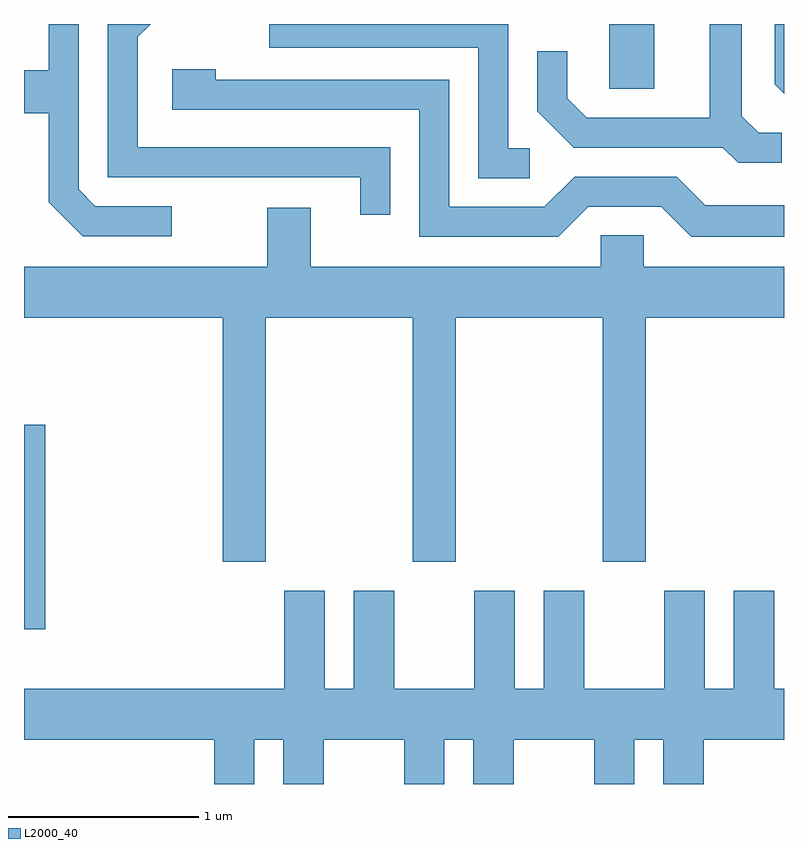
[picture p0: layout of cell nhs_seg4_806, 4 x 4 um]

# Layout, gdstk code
import gdstk
lib = gdstk.Library(unit=1e-6, precision=1e-09)
def R(c, l, rs):  # rectangles x0, y0, x1, y1
    for r in rs: c.add(gdstk.rectangle(r[:2], r[2:], *l))
def P(c, l, *ps):  # polygons
    for p in ps: c.add(gdstk.Polygon(p, *l))
L2000_40 = (2000, 40)

nhs_seg4_806 = lib.new_cell('nhs_seg4_806')
R(nhs_seg4_806, L2000_40, [(207.611,1370.796,207.724,1371.874), (210.691,1373.641,210.929,1373.982)])
P(nhs_seg4_806, L2000_40, [(209.539,1373.334),(208.209,1373.334),(208.209,1373.914),(208.278,1373.982),(208.051,1373.982),(208.051,1373.176),(209.381,1373.176),(209.381,1372.978),(209.539,1372.978)],
  [(211.611,1373.982),(211.561,1373.982),(211.561,1373.664),(211.611,1373.614)],
  [(208.388,1373.024),(207.987,1373.024),(207.899,1373.112),(207.899,1373.982),(207.741,1373.982),(207.741,1373.739),(207.611,1373.739),(207.611,1373.511),(207.741,1373.511),(207.741,1373.044),(207.919,1372.866),(208.388,1372.866)],
  [(210.273,1373.329),(210.159,1373.329),(210.159,1373.982),(208.903,1373.982),(208.903,1373.856),(210.001,1373.856),(210.001,1373.171),(210.273,1373.171)],
  [(211.598,1373.409),(211.477,1373.409),(211.389,1373.497),(211.389,1373.982),(211.221,1373.982),(211.221,1373.489),(210.572,1373.489),(210.469,1373.592),(210.469,1373.838),(210.311,1373.838),(210.311,1373.524),(210.504,1373.331),(211.289,1373.331),(211.369,1373.251),(211.598,1373.251)],
  [(210.582,1373.021),(210.964,1373.021),(211.124,1372.861),(211.611,1372.861),(211.611,1373.029),(211.197,1373.029),(211.047,1373.179),(210.509,1373.179),(210.349,1373.019),(209.849,1373.019),(209.849,1373.689),(208.619,1373.689),(208.619,1373.744),(208.391,1373.744),(208.391,1373.531),(209.691,1373.531),(209.691,1372.861),(210.422,1372.861)],
  [(208.884,1372.436),(209.656,1372.436),(209.656,1371.151),(209.884,1371.151),(209.884,1372.436),(210.656,1372.436),(210.656,1371.151),(210.884,1371.151),(210.884,1372.436),(211.611,1372.436),(211.611,1372.704),(210.874,1372.704),(210.874,1372.869),(210.646,1372.869),(210.646,1372.704),(209.119,1372.704),(209.119,1373.014),(208.891,1373.014),(208.891,1372.704),(207.611,1372.704),(207.611,1372.436),(208.656,1372.436),(208.656,1371.151),(208.884,1371.151)],
  [(208.824,1370.216),(208.976,1370.216),(208.976,1369.982),(209.189,1369.982),(209.189,1370.216),(209.611,1370.216),(209.611,1369.982),(209.824,1369.982),(209.824,1370.216),(209.976,1370.216),(209.976,1369.982),(210.189,1369.982),(210.189,1370.216),(210.611,1370.216),(210.611,1369.982),(210.824,1369.982),(210.824,1370.216),(210.976,1370.216),(210.976,1369.982),(211.189,1369.982),(211.189,1370.216),(211.611,1370.216),(211.611,1370.484),(211.559,1370.484),(211.559,1370.999),(211.346,1370.999),(211.346,1370.484),(211.194,1370.484),(211.194,1370.999),(210.981,1370.999),(210.981,1370.484),(210.559,1370.484),(210.559,1370.999),(210.346,1370.999),(210.346,1370.484),(210.194,1370.484),(210.194,1370.999),(209.981,1370.999),(209.981,1370.484),(209.559,1370.484),(209.559,1370.999),(209.346,1370.999),(209.346,1370.484),(209.194,1370.484),(209.194,1370.999),(208.981,1370.999),(208.981,1370.484),(207.611,1370.484),(207.611,1370.216),(208.611,1370.216),(208.611,1369.982),(208.824,1369.982)])

lib.write_gds('nhs_seg4_806.gds')
